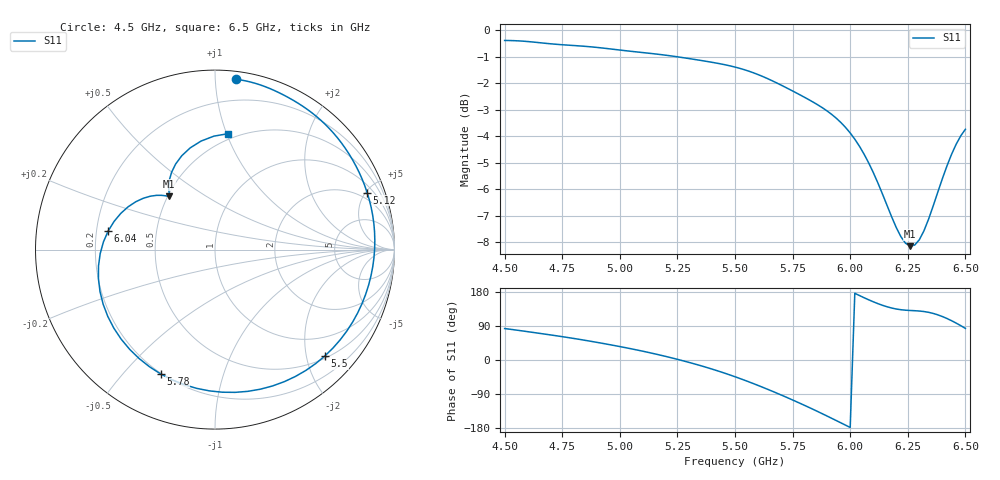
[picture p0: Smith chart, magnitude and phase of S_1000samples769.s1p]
! TOUCHSTONE file generated by CST MICROWAVE STUDIO
! Date and time: Sat Oct 29 07:55:44 2022
! Project name: L.cst
! Parameters = {Di=1.27; Epsilon_r=1.56; InnerDiameter=1.27; Length=2; Lf=10; Lg=60; OuterConductorThickness=0.2921; OuterDiameter=3.6; Wf=3; Wp=41.2; de=1.5; df=6.8; g=0.8; gx=4.52858; gy=1.4062; h=2.34; hf=1.524; px=9.28916; py=12.1464; w=9.7; wx=4.76057; wy=10.7402}
! Header version: 2018
! Port assignment regex: !\s*Touchstone port\s*([0-9]+)\s*=\s*(CST MWS port|CST DS port)\s*([0-9]+|Zmin|Zmax)\s*\(\"(.*)\"\)(\s*mode\s*([0-9]+))?.*
! Touchstone port assignment:
! Touchstone port 1 = CST MWS port 1 ("")
# GHz S DB R 50
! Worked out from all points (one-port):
!   101 points, 4.5 GHz to 6.5 GHz, reference 50 ohm
!   lowest |S11| = -8.1 dB at 6.26 GHz (marker M1), VSWR 2.29, Z = 25.4 + j17.8 ohm
!   |S11| at or under -10 dB: nowhere
!   S11 on the Smith chart (normalised r, x): 4.5 GHz: 0.05, +1.13; 5.12 GHz: 1.46, +5.12; 5.5 GHz: 0.54, -2.36; 5.78 GHz: 0.20, -0.64; 6.04 GHz: 0.25, +0.08; 6.5 GHz: 0.45, +1.01
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4.5  -0.39 83.0
4.62  -0.45 73.1
4.76  -0.56 60.7
4.88  -0.63 48.8
5  -0.75 35.5
5.12  -0.86 20.5
5.26  -1.02 0.2
5.38  -1.18 -20.2
5.44  -1.28 -31.7
5.5  -1.39 -44.2
5.58  -1.61 -62.3
5.64  -1.82 -76.9
5.7  -2.07 -92.2
5.76  -2.34 -108.2
5.78  -2.43 -113.7
5.84  -2.72 -130.5
5.9  -3.05 -148.0
5.96  -3.49 -166.0
6  -3.88 -178.0
6.04  -4.38 170.2
6.1  -5.36 153.7
6.14  -6.18 144.4
6.2  -7.44 134.6
6.26  -8.15 130.7
6.32  -7.57 127.9
6.4  -5.60 114.7
6.44  -4.68 103.7
6.5  -3.74 83.4
